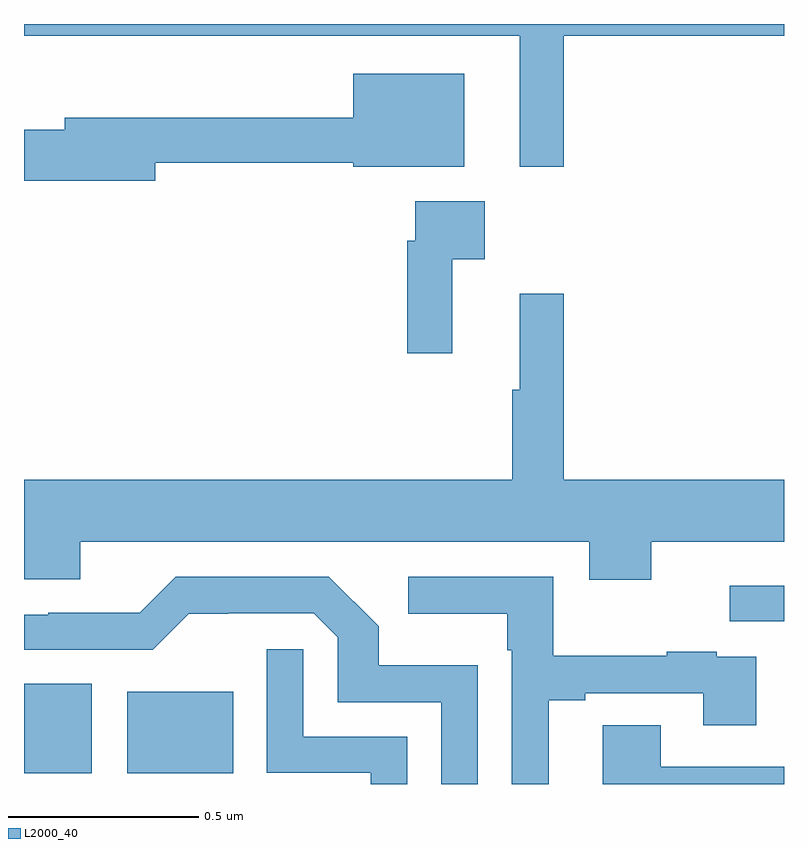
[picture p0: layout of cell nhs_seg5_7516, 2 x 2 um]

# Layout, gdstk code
import gdstk
lib = gdstk.Library(unit=1e-6, precision=1e-09)
def R(c, l, rs):  # rectangles x0, y0, x1, y1
    for r in rs: c.add(gdstk.rectangle(r[:2], r[2:], *l))
def P(c, l, *ps):  # polygons
    for p in ps: c.add(gdstk.Polygon(p, *l))
L2000_40 = (2000, 40)

nhs_seg5_7516 = lib.new_cell('nhs_seg5_7516')
R(nhs_seg5_7516, L2000_40, [(210,846.827,210.178,847.063), (210.272,846.827,210.55,847.042), (211.857,847.227,212,847.321)])
P(nhs_seg5_7516, L2000_40, [(211.421,848.768),(212,848.768),(212,848.799),(210,848.799),(210,848.768),(211.304,848.768),(211.304,848.424),(211.421,848.424)],
  [(210.346,848.434),(210.866,848.434),(210.866,848.423),(211.159,848.423),(211.159,848.668),(210.866,848.668),(210.866,848.552),(210.107,848.552),(210.107,848.521),(210,848.521),(210,848.387),(210.346,848.387)],
  [(211.127,848.18),(211.213,848.18),(211.213,848.332),(211.029,848.332),(211.029,848.228),(211.009,848.228),(211.009,847.932),(211.127,847.932)],
  [(211.651,847.436),(212,847.436),(212,847.6),(211.421,847.6),(211.421,848.089),(211.304,848.089),(211.304,847.836),(211.285,847.836),(211.285,847.6),(210,847.6),(210,847.338),(210.148,847.338),(210.148,847.436),(211.487,847.436),(211.487,847.337),(211.651,847.337)],
  [(211.381,847.02),(211.477,847.02),(211.477,847.038),(211.787,847.038),(211.787,846.954),(211.927,846.954),(211.927,847.134),(211.823,847.134),(211.823,847.147),(211.691,847.147),(211.691,847.136),(211.393,847.136),(211.393,847.344),(211.011,847.344),(211.011,847.247),(211.272,847.247),(211.272,847.151),(211.284,847.151),(211.284,846.799),(211.381,846.799)],
  [(211.194,847.111),(210.933,847.111),(210.933,847.214),(210.802,847.344),(210.399,847.344),(210.305,847.25),(210.064,847.25),(210.064,847.245),(210,847.245),(210,847.152),(210.339,847.152),(210.434,847.247),(210.538,847.247),(210.538,847.248),(210.762,847.248),(210.825,847.185),(210.825,847.014),(211.098,847.014),(211.098,846.799),(211.194,846.799)],
  [(211.008,846.924),(210.735,846.924),(210.735,847.153),(210.639,847.153),(210.639,846.828),(210.912,846.828),(210.912,846.799),(211.008,846.799)],
  [(212,846.844),(211.675,846.844),(211.675,846.953),(211.523,846.953),(211.523,846.799),(212,846.799)])

lib.write_gds('nhs_seg5_7516.gds')
